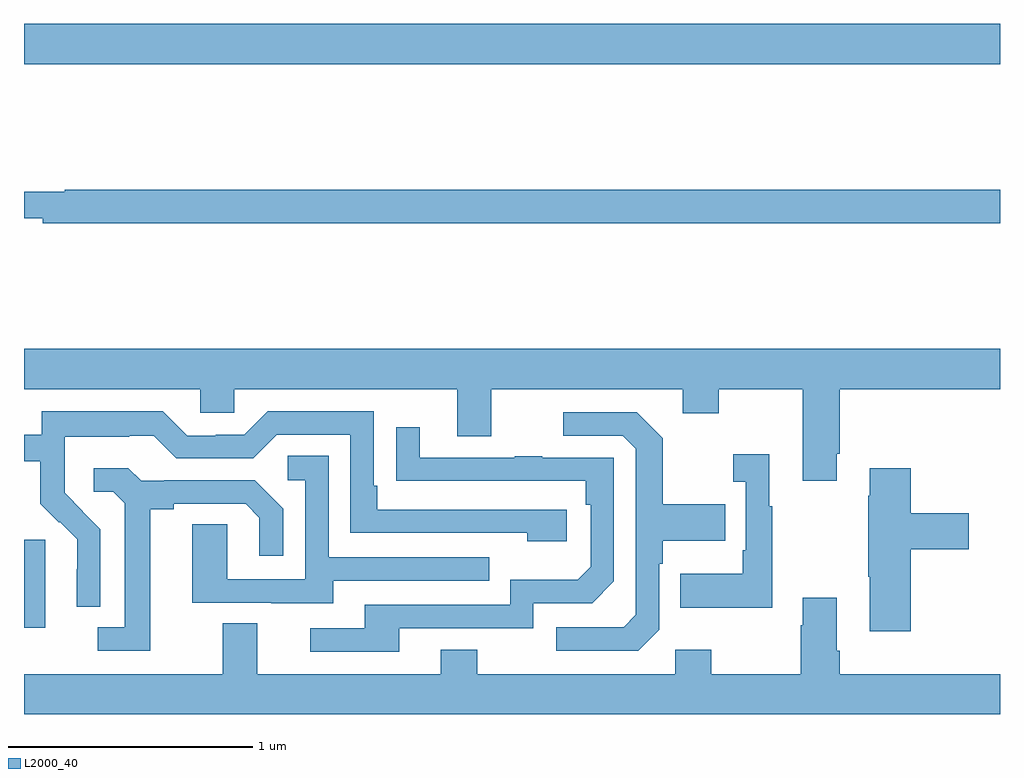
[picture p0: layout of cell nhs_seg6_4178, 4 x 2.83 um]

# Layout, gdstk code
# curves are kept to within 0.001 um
import gdstk
lib = gdstk.Library(unit=1e-6, precision=1e-09)
def R(c, l, rs):  # rectangles x0, y0, x1, y1
    for r in rs: c.add(gdstk.rectangle(r[:2], r[2:], *l))
def P(c, l, *ps):  # polygons
    for p in ps: c.add(gdstk.Polygon(p, *l))
L2000_40 = (2000, 40)

nhs_seg6_4178 = lib.new_cell('nhs_seg6_4178')
R(nhs_seg6_4178, L2000_40, [(357,969.002,357.088,969.363), (357,971.312,361,971.476)])
P(nhs_seg6_4178, L2000_40, [(361,970.796),(357.167,970.796),(357.167,970.789),(357,970.789),(357,970.679),(357.076,970.679),(357.076,970.66),(361,970.66)],
  [(360.331,969.715),(360.344,969.715),(360.344,969.98),(361,969.98),(361,970.144),(357,970.144),(357,969.98),(357.723,969.98),(357.723,969.882),(357.861,969.882),(357.861,969.98),(358.775,969.98),(358.775,969.786),(358.915,969.786),(358.915,969.98),(359.699,969.98),(359.699,969.881),(359.847,969.881),(359.847,969.98),(360.191,969.98),(360.191,969.603),(360.331,969.603)],
  [(357.312,969.406),(357.166,969.554),(357.166,969.651),(357.168,969.651),(357.168,969.785),(357.431,969.785),(357.431,969.789),(357.531,969.789),(357.624,969.696),(357.939,969.696),(358.035,969.792),(358.338,969.792),(358.338,969.39),(359.063,969.39),(359.063,969.356),(359.224,969.356),(359.224,969.486),(358.447,969.486),(358.447,969.583),(358.434,969.583),(358.434,969.888),(357.999,969.888),(357.903,969.792),(357.785,969.792),(357.785,969.789),(357.669,969.789),(357.569,969.889),(357.072,969.889),(357.072,969.792),(357,969.792),(357,969.684),(357.067,969.684),(357.067,969.509),(357.144,969.432),(357.147,969.435),(357.218,969.365),(357.218,969.242),(357.216,969.242),(357.216,969.088),(357.312,969.088)],
  [(359.604,968.994),(359.604,969.263),(359.617,969.263),(359.617,969.359),(359.873,969.359),(359.873,969.507),(359.617,969.507),(359.617,969.779),(359.511,969.885),(359.211,969.885),(359.211,969.789),(359.454,969.789),(359.508,969.735),(359.508,969.054),(359.457,969.003),(359.181,969.003),(359.181,968.907),(359.517,968.907)],
  [(358.537,969),(359.088,969),(359.088,969.102),(359.328,969.102),(359.418,969.192),(359.418,969.699),(359.123,969.699),(359.123,969.704),(359.011,969.704),(359.011,969.699),(358.621,969.699),(358.621,969.823),(358.525,969.823),(358.525,969.604),(359.302,969.603),(359.302,969.506),(359.322,969.506),(359.322,969.252),(359.269,969.199),(358.992,969.199),(358.992,969.096),(358.397,969.096),(358.397,969),(358.173,969),(358.173,968.904),(358.537,968.904)],
  [(360.067,969.499),(360.055,969.499),(360.055,969.712),(359.907,969.712),(359.907,969.599),(359.958,969.599),(359.958,969.319),(359.946,969.319),(359.946,969.223),(359.689,969.223),(359.689,969.083),(360.067,969.083)],
  [(358.267,969.195),(358.907,969.195),(358.907,969.291),(358.248,969.291),(358.248,969.707),(358.08,969.707),(358.08,969.606),(358.152,969.606),(358.152,969.201),(357.834,969.201),(357.834,969.425),(357.689,969.425),(357.689,969.105),(358.013,969.105),(358.013,969.101),(358.267,969.101)],
  [(360.635,969.323),(360.871,969.323),(360.871,969.47),(360.635,969.47),(360.635,969.655),(360.467,969.655),(360.467,969.542),(360.46,969.542),(360.46,969.211),(360.467,969.211),(360.467,968.988),(360.635,968.988)],
  [(357.517,969.488),(357.613,969.488),(357.613,969.51),(357.908,969.51),(357.965,969.453),(357.965,969.297),(358.062,969.297),(358.062,969.49),(357.946,969.606),(357.574,969.606),(357.574,969.603),(357.48,969.603),(357.428,969.655),(357.285,969.655),(357.285,969.558),(357.366,969.558),(357.413,969.511),(357.413,969.003),(357.303,969.003),(357.303,968.907),(357.517,968.907)],
  [(361,968.812),(360.344,968.812),(360.344,968.908),(360.331,968.908),(360.331,969.124),(360.191,969.124),(360.191,969.011),(360.184,969.011),(360.184,968.812),(359.817,968.812),(359.817,968.911),(359.67,968.911),(359.67,968.812),(358.857,968.812),(358.857,968.911),(358.709,968.911),(358.709,968.812),(357.955,968.812),(357.955,969.02),(357.815,969.02),(357.815,968.812),(357,968.812),(357,968.648),(361,968.648)])

lib.write_gds('nhs_seg6_4178.gds')
